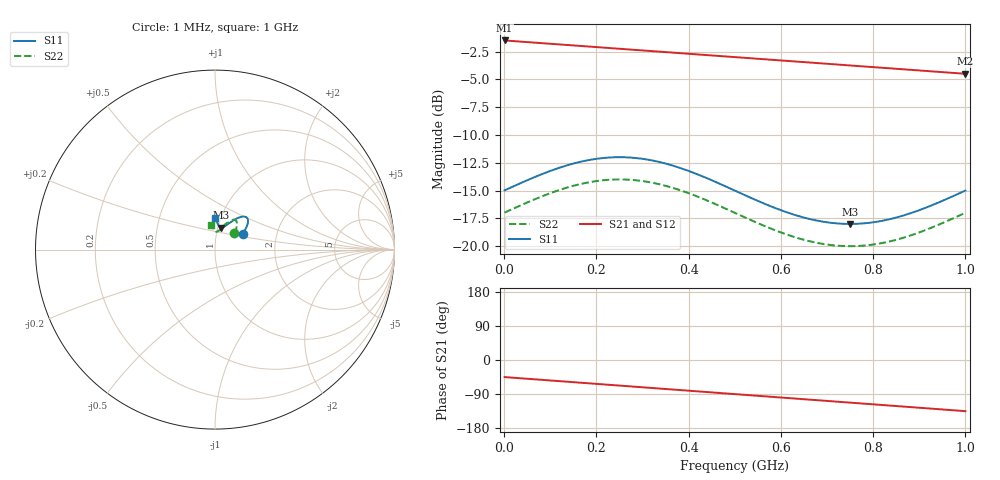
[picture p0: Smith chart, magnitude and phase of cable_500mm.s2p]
! Synthetic S2P fixture: cable_500mm.s2p
! Generated for testing purposes
# MHZ S DB R 50
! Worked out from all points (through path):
!   101 points, 1 MHz to 1 GHz, reference 50 ohm
!   highest |S21| = -1.50 dB at 1 MHz (marker M1); lowest = -4.5 dB at 1 GHz (marker M2)
!   lowest |S11| = -18.0 dB at 750.2 MHz (marker M3), VSWR 1.29, Z = 51.8 + j12.8 ohm
!   |S11| at or under -10 dB: start of sweep to end of sweep
!   |S22| runs from -20.0 to -14.0 dB; largest |S21 - S12| = 0
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1  -14.98 30.1  -1.50 -45.1  -1.50 -45.1  -16.98 40.1
50.95  -14.06 33.1  -1.65 -49.6  -1.65 -49.6  -16.06 43.1
100.9  -13.22 36.1  -1.80 -54.1  -1.80 -54.1  -15.22 46.1
140.86  -12.68 38.5  -1.92 -57.7  -1.92 -57.7  -14.68 48.5
170.83  -12.36 40.2  -2.01 -60.4  -2.01 -60.4  -14.36 50.2
210.79  -12.09 42.6  -2.13 -64.0  -2.13 -64.0  -14.09 52.6
250.75  -12.00 45.0  -2.25 -67.6  -2.25 -67.6  -14.00 55.0
290.71  -12.10 47.4  -2.37 -71.2  -2.37 -71.2  -14.10 57.4
340.66  -12.47 50.4  -2.52 -75.7  -2.52 -75.7  -14.47 60.4
370.63  -12.82 52.2  -2.61 -78.4  -2.61 -78.4  -14.82 62.2
410.59  -13.40 54.6  -2.73 -82.0  -2.73 -82.0  -15.40 64.6
500.5  -15.01 60.0  -3.00 -90.0  -3.00 -90.0  -17.01 70.0
600.4  -16.77 66.0  -3.30 -99.0  -3.30 -99.0  -18.77 76.0
640.36  -17.32 68.4  -3.42 -102.6  -3.42 -102.6  -19.32 78.4
670.33  -17.63 70.2  -3.51 -105.3  -3.51 -105.3  -19.63 80.2
710.29  -17.91 72.6  -3.63 -108.9  -3.63 -108.9  -19.91 82.6
750.25  -18.00 75.0  -3.75 -112.5  -3.75 -112.5  -20.00 85.0
790.21  -17.90 77.4  -3.87 -116.1  -3.87 -116.1  -19.90 87.4
840.16  -17.53 80.4  -4.02 -120.6  -4.02 -120.6  -19.53 90.4
870.13  -17.19 82.2  -4.11 -123.3  -4.11 -123.3  -19.19 92.2
910.09  -16.61 84.6  -4.23 -126.9  -4.23 -126.9  -18.61 94.6
1000  -15.00 90.0  -4.50 -135.0  -4.50 -135.0  -17.00 100.0
